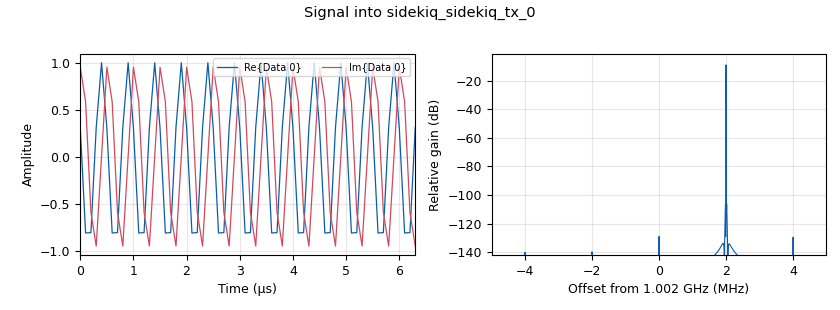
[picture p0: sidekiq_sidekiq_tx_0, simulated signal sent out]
options:
  parameters:
    generate_options: qt_gui
    id: tx_message
    output_language: python
    title: Sink Test
  states: {}

blocks:
- name: attenuation
  id: variable_qtgui_range
  parameters:
    min_len: '100'
    start: '0'
    step: '10'
    stop: '255'
    value: '125'
  states: {}
- name: bandwidth
  id: variable_qtgui_range
  parameters:
    start: '1000'
    step: 1e6
    stop: 250e6
    value: sample_rate * 0.8
  states: {}
- name: frequency
  id: variable_qtgui_range
  parameters:
    label: Frequency
    min_len: '100'
    start: 500e6
    step: 1e6
    stop: 6000e6
    value: 1002e6
  states: {}
- name: min_output_buffer
  id: variable
  parameters:
    value: 32764 *2*2
  states: {}
- name: run_tx_calibration
  id: variable_qtgui_push_button
  parameters:
    pressed: '1'
    released: '0'
    type: int
    value: '0'
  states: {}
- name: sample_rate
  id: variable_qtgui_range
  parameters:
    start: 1e6
    step: 1e6
    stop: 250e6
    value: 10e6
  states: {}
- name: tone_freq
  id: variable_qtgui_range
  parameters:
    start: 1e6
    step: 1e6
    stop: 25e6
    value: 2e6
  states: {}
- name: analog_sig_source_x_0
  id: analog_sig_source_x
  parameters:
    amp: '1'
    freq: tone_freq
    minoutbuf: min_output_buffer
    offset: '0'
    phase: '0'
    samp_rate: sample_rate
    type: complex
    waveform: analog.GR_COS_WAVE
  states: {}
- name: qtgui_edit_box_msg_0
  id: qtgui_edit_box_msg
  parameters:
    is_static: 'False'
    key: lo_freq
    label: frequency_message
    type: double
    value: 1e9
  states: {}
- name: qtgui_edit_box_msg_1
  id: qtgui_edit_box_msg
  parameters:
    is_static: 'False'
    key: rate
    label: sample_rate_message
    type: double
    value: 10e6
  states: {}
- name: qtgui_edit_box_msg_2
  id: qtgui_edit_box_msg
  parameters:
    is_static: 'False'
    key: bandwidth
    label: bandwidth_message
    type: double
    value: '8000000'
  states: {}
- name: qtgui_edit_box_msg_3
  id: qtgui_edit_box_msg
  parameters:
    is_static: 'False'
    key: attenuation
    label: attenuation_message
    type: double
    value: '125'
  states: {}
- name: sidekiq_sidekiq_tx_0
  id: sidekiq_sidekiq_tx
  parameters:
    attenuation: attenuation
    bandwidth: bandwidth
    buffer_size: '1020'
    burst_tag: ''
    cal_mode: '1'
    card: '0'
    frequency: frequency
    handle: '0'
    run_cal: run_tx_calibration
    sample_rate: sample_rate
    threads: '4'
  states: {}

connections:
- [analog_sig_source_x_0, '0', sidekiq_sidekiq_tx_0, '0']
- [qtgui_edit_box_msg_0, msg, sidekiq_sidekiq_tx_0, command]
- [qtgui_edit_box_msg_1, msg, sidekiq_sidekiq_tx_0, command]
- [qtgui_edit_box_msg_2, msg, sidekiq_sidekiq_tx_0, command]
- [qtgui_edit_box_msg_3, msg, sidekiq_sidekiq_tx_0, command]

metadata:
  file_format: 1
  grc_version: 3.10.3.0
